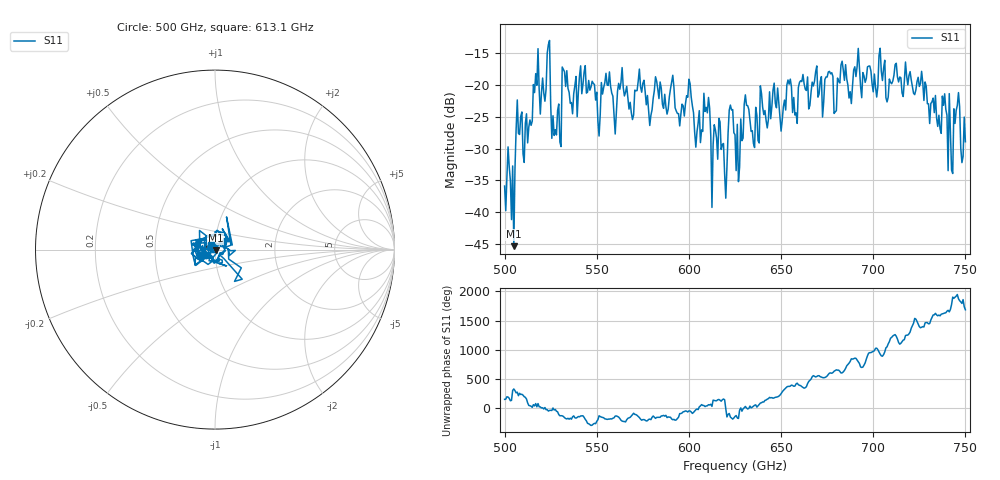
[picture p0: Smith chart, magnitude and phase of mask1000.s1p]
!Created with skrf (http://scikit-rf.org).
# GHz S MA R 50.0
!freq magS11 angS11
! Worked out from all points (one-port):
!   401 points, 500 GHz to 750 GHz, reference 50 ohm
!   lowest |S11| = -45.3 dB at 505 GHz (marker M1), VSWR 1.01, Z = 50.4 - j0.336 ohm
!   |S11| at or under -10 dB: start of sweep to end of sweep
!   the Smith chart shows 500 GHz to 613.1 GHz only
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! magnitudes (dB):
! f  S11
! 500 GHz  -35.9
! 505 GHz  -45.3
! 507.5 GHz  -27.6
! 513.8 GHz  -25.5
! 516.9 GHz  -18.2
! 523.8 GHz  -13.6
! 526.9 GHz  -27.9
! 531.2 GHz  -17.2
! 542.5 GHz  -19.9
! 550.6 GHz  -25.7
! 555.6 GHz  -20.0
! 559.4 GHz  -24.8
! 562.5 GHz  -20.7
! 593.8 GHz  -24.5
! 609.4 GHz  -23.5
! 619.4 GHz  -34.0
! 622.5 GHz  -23.2
! 625 GHz  -27.8
! 656.2 GHz  -24.3
! 680 GHz  -24.0
! 683.8 GHz  -17.6
! 687.5 GHz  -21.0
! 691.2 GHz  -17.1
! 718.8 GHz  -20.0
! 738.8 GHz  -21.4
! 741.9 GHz  -27.6
! 745 GHz  -24.0
! 750 GHz  -28.9
